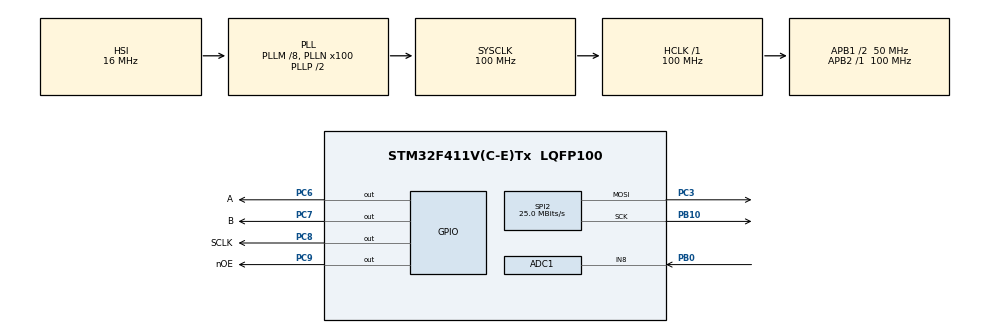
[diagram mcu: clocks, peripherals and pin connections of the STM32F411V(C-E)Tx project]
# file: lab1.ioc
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ADC1.Channel-1\#ChannelRegularConversion=ADC_CHANNEL_8
ADC1.NbrOfConversionFlag=1
ADC1.Rank-1\#ChannelRegularConversion=1
ADC1.SamplingTime-1\#ChannelRegularConversion=ADC_SAMPLETIME_3CYCLES
ADC1.master=1
Mcu.Family=STM32F4
Mcu.Name=STM32F411V(C-E)Tx
Mcu.Package=LQFP100
NVIC.ADC_IRQn=true\:0\:0\:false\:false\:true\:true\:true\:true
NVIC.PriorityGroup=NVIC_PRIORITYGROUP_4
NVIC.TIM1_UP_TIM10_IRQn=true\:0\:0\:false\:false\:true\:true\:true\:true
NVIC.TIM2_IRQn=true\:0\:0\:false\:false\:true\:true\:true\:true
PB0.Signal=ADCx_IN8
PB10.Mode=TX_Only_Simplex_Unidirect_Master
PB10.Signal=SPI2_SCK
PC3.Mode=TX_Only_Simplex_Unidirect_Master
PC3.Signal=SPI2_MOSI
PC6.GPIO_Label=A
PC6.Signal=GPIO_Output
PC7.GPIO_Label=B
PC7.Signal=GPIO_Output
PC8.GPIO_Label=SCLK
PC8.Signal=GPIO_Output
PC9.GPIO_Label=nOE
PC9.Signal=GPIO_Output
ProjectManager.HeapSize=0x200
ProjectManager.StackSize=0x400
ProjectManager.TargetToolchain=STM32CubeIDE
RCC.48MHZClocksFreq_Value=50000000
RCC.AHBFreq_Value=100000000
RCC.APB1CLKDivider=RCC_HCLK_DIV2
RCC.APB1Freq_Value=50000000
RCC.APB1TimFreq_Value=100000000
RCC.APB2Freq_Value=100000000
RCC.APB2TimFreq_Value=100000000
RCC.CortexFreq_Value=100000000
RCC.HCLKFreq_Value=100000000
RCC.HSE_VALUE=25000000
RCC.HSI_VALUE=16000000
RCC.LSE_VALUE=32768
RCC.PLLM=8
RCC.PLLN=100
RCC.SYSCLKFreq_VALUE=100000000
RCC.SYSCLKSource=RCC_SYSCLKSOURCE_PLLCLK
RCC.VCOOutputFreq_Value=200000000
SH.ADCx_IN8.0=ADC1_IN8,IN8
SPI2.BaudRatePrescaler=SPI_BAUDRATEPRESCALER_2
SPI2.CalculateBaudRate=25.0 MBits/s
SPI2.Direction=SPI_DIRECTION_2LINES
SPI2.Mode=SPI_MODE_MASTER
SPI2.VirtualType=VM_MASTER
TIM1.Channel-Output\ Compare1\ No\ Output=TIM_CHANNEL_1
TIM1.Period=3333
TIM1.Prescaler=300-1
TIM2.Channel-Output\ Compare1\ No\ Output=TIM_CHANNEL_1
TIM2.Period=2000
TIM2.Prescaler=50000
VP_TIM1_VS_no_output1.Mode=Output Compare1 No Output
VP_TIM2_VS_no_output1.Mode=Output Compare1 No Output
board=custom

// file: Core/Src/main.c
/* USER CODE BEGIN Header */
/**
  ******************************************************************************
  * @file           : main.c
  * @brief          : Main program body
  ******************************************************************************
  * @attention
  *
  * Copyright (c) 2023 STMicroelectronics.
  * All rights reserved.
  *
  * This software is licensed under terms that can be found in the LICENSE file
  * in the root directory of this software component.
  * If no LICENSE file comes with this software, it is provided AS-IS.
  *
  ******************************************************************************
  */
/* USER CODE END Header */
#include "main.h"
#include "adc.h"
#include "spi.h"
#include "tim.h"
#include "gpio.h"

/* USER CODE BEGIN Includes */
#include "P10.h"
/* USER CODE END Includes */

/* USER CODE BEGIN PV */
volatile uint8_t data[16];
volatile Pixel pix[3];
volatile uint8_t Tim2Count;
extern uint16_t AdcValUsred;
Pixel pixel;
int level = 0;
uint16_t level_led = 0;
/* USER CODE END PV */

void SystemClock_Config(void);

int main(void)
{

  /* MCU Configuration--------------------------------------------------------*/

  /* Reset of all peripherals, Initializes the Flash interface and the Systick. */
  HAL_Init();

  /* Configure the system clock */
  SystemClock_Config();

  /* Initialize all configured peripherals */
  MX_GPIO_Init();
  MX_SPI2_Init();
  MX_TIM2_Init();
  MX_ADC1_Init();
  MX_TIM1_Init();
  /* USER CODE BEGIN 2 */
  HAL_TIM_Base_Start_IT(&htim1);
  /* USER CODE END 2 */

  /* Infinite loop */
  /* USER CODE BEGIN WHILE */
  pix[0].x = 10;
  pix[0].y = 2;
  pix[1].x = 10;
  pix[1].y = 4;
 void drawPoint0(int x, int y){
	 pixel.x = x;
	 pixel.y = y;
	 clearScreen((uint8_t*)&data);
	 drawPixel(pixel, (uint8_t*)&data, P10AB_11);
	 HAL_GPIO_WritePin(GPIOC, nOE_Pin, GPIO_PIN_RESET);
	 HAL_GPIO_WritePin(GPIOC, SCLK_Pin, GPIO_PIN_RESET);
	 HAL_GPIO_WritePin(GPIOC, A_Pin, GPIO_PIN_SET);
	 HAL_GPIO_WritePin(GPIOC, B_Pin, GPIO_PIN_SET);

	 HAL_SPI_Transmit(&hspi2, (uint8_t*)&data, 16, 10);

	 HAL_GPIO_WritePin(GPIOC, SCLK_Pin, GPIO_PIN_SET);
	 HAL_GPIO_WritePin(GPIOC, nOE_Pin, GPIO_PIN_SET);
	 HAL_Delay(0.1);
 }

 void drawPoint1(int x, int y){
	 pixel.x = x;
	 pixel.y = y;
	 clearScreen((uint8_t*)&data);
	 drawPixel(pixel, (uint8_t*)&data, P10AB_10);
	 HAL_GPIO_WritePin(GPIOC, nOE_Pin, GPIO_PIN_RESET);
	 HAL_GPIO_WritePin(GPIOC, SCLK_Pin, GPIO_PIN_RESET);
	 HAL_GPIO_WritePin(GPIOC, A_Pin, GPIO_PIN_RESET);
	 HAL_GPIO_WritePin(GPIOC, B_Pin, GPIO_PIN_SET);

	 HAL_SPI_Transmit(&hspi2, (uint8_t*)&data, 16, 10);

	 HAL_GPIO_WritePin(GPIOC, SCLK_Pin, GPIO_PIN_SET);
	 HAL_GPIO_WritePin(GPIOC, nOE_Pin, GPIO_PIN_SET);
	 HAL_Delay(0.2);
 }

 void drawPoint2(int x, int y){
	 pixel.x = x;
	 pixel.y = y;
	 clearScreen((uint8_t*)&data);
	 drawPixel(pixel, (uint8_t*)&data, P10AB_01);
	 HAL_GPIO_WritePin(GPIOC, nOE_Pin, GPIO_PIN_RESET);
	 HAL_GPIO_WritePin(GPIOC, SCLK_Pin, GPIO_PIN_RESET);
	 HAL_GPIO_WritePin(GPIOC, A_Pin, GPIO_PIN_SET);
	 HAL_GPIO_WritePin(GPIOC, B_Pin, GPIO_PIN_RESET);

	 HAL_SPI_Transmit(&hspi2, (uint8_t*)&data, 16, 10);

	 HAL_GPIO_WritePin(GPIOC, SCLK_Pin, GPIO_PIN_SET);
	 HAL_GPIO_WritePin(GPIOC, nOE_Pin, GPIO_PIN_SET);
	 HAL_Delay(0.2);
 }
 void drawPoint3(int x, int y){
	 pixel.x = x;
	 pixel.y = y;
	 clearScreen((uint8_t*)&data);
	 drawPixel(pixel, (uint8_t*)&data, P10AB_00);
	 HAL_GPIO_WritePin(GPIOC, nOE_Pin, GPIO_PIN_RESET);
	 HAL_GPIO_WritePin(GPIOC, SCLK_Pin, GPIO_PIN_RESET);
	 HAL_GPIO_WritePin(GPIOC, A_Pin, GPIO_PIN_RESET);
	 HAL_GPIO_WritePin(GPIOC, B_Pin, GPIO_PIN_RESET);

	 HAL_SPI_Transmit(&hspi2, (uint8_t*)&data, 16, 10);

	 HAL_GPIO_WritePin(GPIOC, SCLK_Pin, GPIO_PIN_SET);
	 HAL_GPIO_WritePin(GPIOC, nOE_Pin, GPIO_PIN_SET);
	 HAL_Delay(0.2);
 }

 void drawPoint(int x, int y){
	 if (y == 0 || y == 4 || y == 8|| y == 12 ){
		 drawPoint0(x, y);
	 }
	 else if (y == 1 || y == 5 || y == 9 || y == 13){
		 drawPoint1(x, y);
	 }
	 else if (y == 2 ||  y == 6 || y == 10 || y == 14){
		 drawPoint2(x, y);
	 }
	 else if (y == 3 || y == 7 || y == 11 || y == 15){
		 drawPoint3(x, y);
	 }
 }

 void drawSquare_edge(int lenght){
	 int x0 = 15;
	 int y0 = 7;
	 int k = 1 - lenght/2;
	 int x = x0 + k;
	 int y = y0 + k;
	 drawPoint(x, y);
	 for (uint8_t  i = 0; i < lenght; i ++){
		 drawPoint(x, y + i);
		 drawPoint(x + i, y);
	 }
	 for (uint8_t  i = 0; i < lenght; i ++){
		 drawPoint(x+i, y + lenght);
		 drawPoint(x + lenght, y+i);
	 }
	 drawPoint(x+lenght, y+lenght);
//	 drawPoint(x, y + lenght - 1);
//	 drawPoint(x + lenght - 1, y + lenght - 1);
//	 drawPoint(x + lenght - 1, y);
 }

 void drawSquare(int lenght){
	 for (uint8_t i = 0; i <= lenght; i++){
		 drawSquare_edge(i);
	 }
 }

  while (1)
  {

// P10AB_11 : 0, 4, 8, 12 ; P10AB_01 : 1, 5, 9, 13; P10AB_10 : 2, 6, 10, 14; P10AB_00 : 3, 7, 11, 15

//		  clearScreen((uint8_t*)&data);
//		  drawRect(pix[0], pix[1], (uint8_t*)&data, P10AB_11);
//		  HAL_GPIO_WritePin(GPIOC, nOE_Pin, GPIO_PIN_RESET);
//		  HAL_GPIO_WritePin(GPIOC, SCLK_Pin, GPIO_PIN_RESET);
//		  HAL_GPIO_WritePin(GPIOC, A_Pin, GPIO_PIN_SET);
//		  HAL_GPIO_WritePin(GPIOC, B_Pin, GPIO_PIN_SET);
//
//		  HAL_SPI_Transmit(&hspi2, (uint8_t*)&data, 16, 10);
//
//		  HAL_GPIO_WritePin(GPIOC, SCLK_Pin, GPIO_PIN_SET);
//		  HAL_GPIO_WritePin(GPIOC, nOE_Pin, GPIO_PIN_SET);
//		  HAL_Delay(1);

//		  clearScreen((uint8_t*)&data);
//		  drawRect(pix[0], pix[1], (uint8_t*)&data, P10AB_01);
//		  HAL_GPIO_WritePin(GPIOC, nOE_Pin, GPIO_PIN_RESET);
//		  HAL_GPIO_WritePin(GPIOC, SCLK_Pin, GPIO_PIN_RESET);
//		  HAL_GPIO_WritePin(GPIOC, A_Pin, GPIO_PIN_RESET);
//		  HAL_GPIO_WritePin(GPIOC, B_Pin, GPIO_PIN_SET);
//
//		  HAL_SPI_Transmit(&hspi2, (uint8_t*)&data, 16, 10);
//
//		  HAL_GPIO_WritePin(GPIOC, SCLK_Pin, GPIO_PIN_SET);
//		  HAL_GPIO_WritePin(GPIOC, nOE_Pin, GPIO_PIN_SET);
//		  HAL_Delay(1);
//
//		  clearScreen((uint8_t*)&data);
//		  drawRect(pix[0], pix[1], (uint8_t*)&data, P10AB_10);
//		  HAL_GPIO_WritePin(GPIOC, nOE_Pin, GPIO_PIN_RESET);
//		  HAL_GPIO_WritePin(GPIOC, SCLK_Pin, GPIO_PIN_RESET);
//		  HAL_GPIO_WritePin(GPIOC, A_Pin, GPIO_PIN_SET);
//		  HAL_GPIO_WritePin(GPIOC, B_Pin, GPIO_PIN_RESET);
//
//		  HAL_SPI_Transmit(&hspi2, (uint8_t*)&data, 16, 10);
//
//		  HAL_GPIO_WritePin(GPIOC, SCLK_Pin, GPIO_PIN_SET);
//		  HAL_GPIO_WritePin(GPIOC, nOE_Pin, GPIO_PIN_SET);
//		  HAL_Delay(1);
//
//
//		  clearScreen((uint8_t*)&data);
//		  drawPixel(pix[1], (uint8_t*)&data, P10AB_11);
//		  HAL_GPIO_WritePin(GPIOC, nOE_Pin, GPIO_PIN_RESET);
//		  HAL_GPIO_WritePin(GPIOC, SCLK_Pin, GPIO_PIN_RESET);
//		  HAL_GPIO_WritePin(GPIOC, A_Pin, GPIO_PIN_SET);
//		  HAL_GPIO_WritePin(GPIOC, B_Pin, GPIO_PIN_SET);
//
//		  HAL_SPI_Transmit(&hspi2, (uint8_t*)&data, 16, 10);
//
//		  HAL_GPIO_WritePin(GPIOC, SCLK_Pin, GPIO_PIN_SET);
//		  HAL_GPIO_WritePin(GPIOC, nOE_Pin, GPIO_PIN_SET);
//		  HAL_Delay(1);

//	  drawPoint(15, 7);
//	  drawPoint(16, 7);
//	  drawPoint(15, 8);
//	  drawPoint(16, 8);
	  uint8_t Level[5] = {2,6,4,8,10};

//	  for (uint8_t i = 0; i <= 5; i ++){
//		  drawSquare(Level[i]);
//		  HAL_Delay(10000);
//	  }

	  level = ((13*AdcValUsred/1900) - 189/19);
//	  level_led = level + (1);

	  drawSquare(level-2);

//
//	  for (uint8_t i = 2 ; i < 16; i = i +2 ){
//		  drawSquare(i);
//		  HAL_Delay(1000);
//	  }

//	  for(uint8_t i = 0; i < 15; i ++){
//		  drawPoint(15, i);
//		  HAL_Delay(100);
//	  }

    /* USER CODE END WHILE */

  }
}

void SystemClock_Config(void)
{
  RCC_OscInitTypeDef RCC_OscInitStruct = {0};
  RCC_ClkInitTypeDef RCC_ClkInitStruct = {0};

  /** Configure the main internal regulator output voltage
  */
  __HAL_RCC_PWR_CLK_ENABLE();
  __HAL_PWR_VOLTAGESCALING_CONFIG(PWR_REGULATOR_VOLTAGE_SCALE1);

  /** Initializes the RCC Oscillators according to the specified parameters
  * in the RCC_OscInitTypeDef structure.
  */
  RCC_OscInitStruct.OscillatorType = RCC_OSCILLATORTYPE_HSI;
  RCC_OscInitStruct.HSIState = RCC_HSI_ON;
  RCC_OscInitStruct.HSICalibrationValue = RCC_HSICALIBRATION_DEFAULT;
  RCC_OscInitStruct.PLL.PLLState = RCC_PLL_ON;
  RCC_OscInitStruct.PLL.PLLSource = RCC_PLLSOURCE_HSI;
  RCC_OscInitStruct.PLL.PLLM = 8;
  RCC_OscInitStruct.PLL.PLLN = 100;
  RCC_OscInitStruct.PLL.PLLP = RCC_PLLP_DIV2;
  RCC_OscInitStruct.PLL.PLLQ = 4;
  if (HAL_RCC_OscConfig(&RCC_OscInitStruct) != HAL_OK)
  {
    Error_Handler();
  }

  /** Initializes the CPU, AHB and APB buses clocks
  */
  RCC_ClkInitStruct.ClockType = RCC_CLOCKTYPE_HCLK|RCC_CLOCKTYPE_SYSCLK
                              |RCC_CLOCKTYPE_PCLK1|RCC_CLOCKTYPE_PCLK2;
  RCC_ClkInitStruct.SYSCLKSource = RCC_SYSCLKSOURCE_PLLCLK;
  RCC_ClkInitStruct.AHBCLKDivider = RCC_SYSCLK_DIV1;
  RCC_ClkInitStruct.APB1CLKDivider = RCC_HCLK_DIV2;
  RCC_ClkInitStruct.APB2CLKDivider = RCC_HCLK_DIV1;

  if (HAL_RCC_ClockConfig(&RCC_ClkInitStruct, FLASH_LATENCY_3) != HAL_OK)
  {
    Error_Handler();
  }
}

void Error_Handler(void)
{
  __disable_irq();
  while (1)
  {
  }
}
